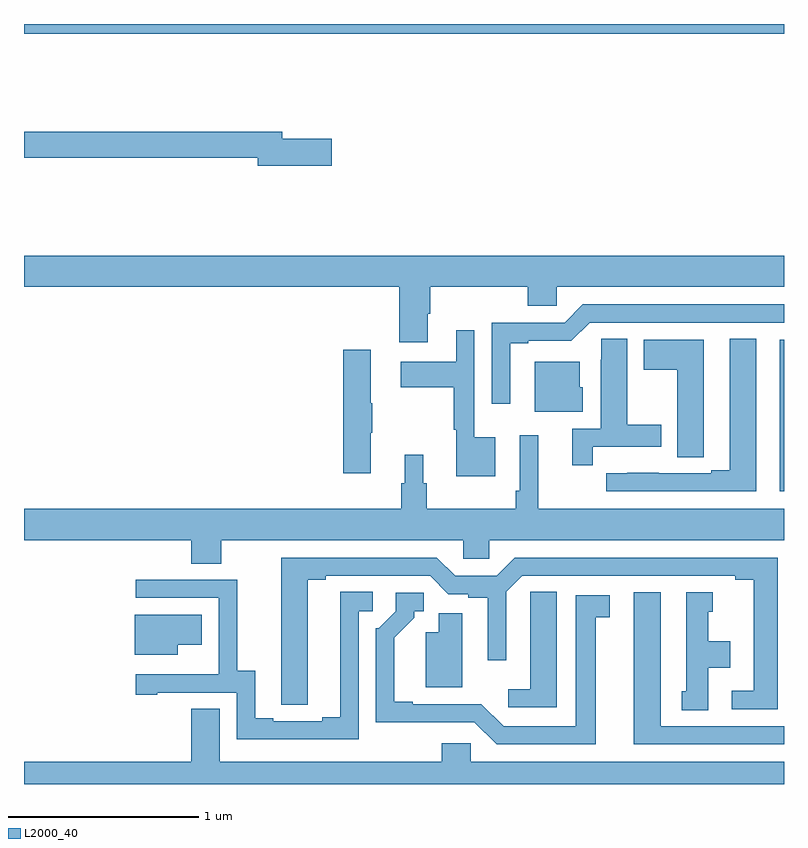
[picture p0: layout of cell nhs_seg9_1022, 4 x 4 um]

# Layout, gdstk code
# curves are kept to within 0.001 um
import gdstk
lib = gdstk.Library(unit=1e-6, precision=1e-09)
def R(c, l, rs):  # rectangles x0, y0, x1, y1
    for r in rs: c.add(gdstk.rectangle(r[:2], r[2:], *l))
def P(c, l, *ps):  # polygons
    for p in ps: c.add(gdstk.Polygon(p, *l))
L2000_40 = (2000, 40)

nhs_seg9_1022 = lib.new_cell('nhs_seg9_1022')
R(nhs_seg9_1022, L2000_40, [(170.978,1166.04,171,1166.838), (167,1168.448,171,1168.5)])
P(nhs_seg9_1022, L2000_40, [(168.619,1167.896),(168.358,1167.896),(168.358,1167.932),(167,1167.932),(167,1167.796),(168.23,1167.796),(168.23,1167.754),(168.619,1167.754)],
  [(169.126,1166.974),(169.139,1166.974),(169.139,1167.116),(169.652,1167.116),(169.652,1167.018),(169.803,1167.018),(169.803,1167.116),(171,1167.116),(171,1167.28),(167,1167.28),(167,1167.116),(168.974,1167.116),(168.974,1166.826),(169.126,1166.826)],
  [(169.558,1166.82),(169.654,1166.82),(169.654,1166.832),(169.881,1166.832),(169.977,1166.928),(171,1166.928),(171,1167.024),(169.941,1167.024),(169.845,1166.928),(169.461,1166.928),(169.461,1166.502),(169.558,1166.502)],
  [(169.48,1166.326),(169.371,1166.326),(169.371,1166.887),(169.274,1166.887),(169.274,1166.722),(168.984,1166.722),(168.984,1166.588),(169.263,1166.588),(169.263,1166.364),(169.274,1166.364),(169.274,1166.12),(169.48,1166.12)],
  [(170.854,1166.843),(170.714,1166.843),(170.714,1166.151),(170.618,1166.151),(170.618,1166.136),(170.342,1166.136),(170.342,1166.137),(170.176,1166.137),(170.176,1166.136),(170.064,1166.136),(170.064,1166.04),(170.854,1166.04)],
  [(169.994,1166.274),(170.353,1166.274),(170.353,1166.391),(170.176,1166.391),(170.176,1166.843),(170.037,1166.843),(170.037,1166.732),(170.036,1166.732),(170.036,1166.37),(169.886,1166.37),(169.886,1166.178),(169.994,1166.178)],
  [(170.577,1166.329),(170.578,1166.329),(170.578,1166.839),(170.261,1166.839),(170.261,1166.68),(170.438,1166.68),(170.438,1166.221),(170.577,1166.221)],
  [(168.826,1166.348),(168.834,1166.348),(168.834,1166.504),(168.826,1166.504),(168.826,1166.785),(168.68,1166.785),(168.68,1166.136),(168.826,1166.136)],
  [(169.942,1166.589),(169.924,1166.589),(169.924,1166.722),(169.688,1166.722),(169.688,1166.459),(169.942,1166.459)],
  [(168.039,1165.784),(169.311,1165.784),(169.311,1165.686),(169.449,1165.686),(169.449,1165.784),(171,1165.784),(171,1165.948),(169.706,1165.948),(169.706,1166.335),(169.608,1166.335),(169.608,1166.044),(169.588,1166.044),(169.588,1165.948),(169.121,1165.948),(169.121,1166.082),(169.102,1166.082),(169.102,1166.233),(169.004,1166.233),(169.004,1166.082),(168.985,1166.082),(168.985,1165.948),(167,1165.948),(167,1165.784),(167.879,1165.784),(167.879,1165.66),(168.039,1165.66)],
  [(170.968,1165.692),(169.583,1165.692),(169.487,1165.596),(169.269,1165.596),(169.173,1165.692),(168.353,1165.692),(168.354,1164.916),(168.493,1164.916),(168.493,1165.576),(168.589,1165.576),(168.589,1165.596),(169.137,1165.596),(169.233,1165.5),(169.338,1165.5),(169.338,1165.48),(169.442,1165.48),(169.442,1165.152),(169.539,1165.152),(169.539,1165.512),(169.623,1165.596),(170.744,1165.596),(170.744,1165.576),(170.84,1165.576),(170.84,1164.99),(170.724,1164.99),(170.724,1164.894),(170.968,1164.894)],
  [(168.762,1165.41),(168.835,1165.41),(168.835,1165.511),(168.665,1165.511),(168.665,1164.851),(168.569,1164.851),(168.569,1164.831),(168.313,1164.831),(168.313,1164.846),(168.217,1164.846),(168.217,1165.097),(168.123,1165.097),(168.123,1165.575),(167.589,1165.575),(167.589,1165.479),(168.024,1165.479),(168.024,1165.078),(168.023,1165.078),(168.023,1165.077),(167.589,1165.077),(167.589,1164.969),(167.701,1164.969),(167.701,1164.981),(168.12,1164.981),(168.12,1164.735),(168.762,1164.735)],
  [(169.804,1165.511),(169.665,1165.511),(169.665,1165.403),(169.664,1165.403),(169.664,1165),(169.548,1165),(169.548,1164.903),(169.804,1164.903)],
  [(170.602,1165.112),(170.716,1165.112),(170.716,1165.252),(170.602,1165.252),(170.602,1165.407),(170.626,1165.407),(170.626,1165.51),(170.486,1165.51),(170.486,1164.987),(170.462,1164.987),(170.462,1164.889),(170.602,1164.889)],
  [(171,1164.804),(170.35,1164.804),(170.35,1165.51),(170.21,1165.51),(170.21,1164.708),(171,1164.708)],
  [(170.008,1165.378),(170.083,1165.378),(170.083,1165.494),(169.904,1165.494),(169.904,1164.804),(169.524,1164.804),(169.407,1164.921),(169.045,1164.921),(169.045,1164.934),(168.949,1164.934),(168.949,1165.27),(169.054,1165.375),(169.054,1165.41),(169.104,1165.41),(169.104,1165.506),(168.957,1165.506),(168.957,1165.41),(168.867,1165.32),(168.852,1165.32),(168.852,1164.824),(169.371,1164.825),(169.488,1164.708),(170.008,1164.708)],
  [(169.306,1165.398),(169.184,1165.398),(169.184,1165.3),(169.115,1165.3),(169.115,1165.01),(169.306,1165.01)],
  [(167.809,1165.232),(167.935,1165.232),(167.935,1165.39),(167.582,1165.39),(167.582,1165.181),(167.809,1165.181)],
  [(171,1164.616),(169.35,1164.616),(169.35,1164.714),(169.199,1164.714),(169.199,1164.616),(168.031,1164.616),(168.031,1164.896),(167.879,1164.896),(167.879,1164.616),(167,1164.616),(167,1164.5),(171,1164.5)])

lib.write_gds('nhs_seg9_1022.gds')
